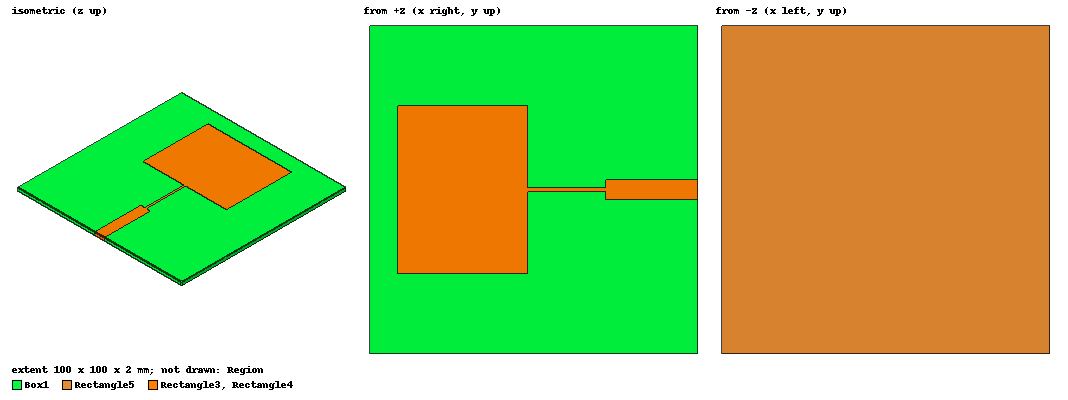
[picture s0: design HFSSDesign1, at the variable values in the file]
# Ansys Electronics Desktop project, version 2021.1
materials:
  vacuum: permittivity=1
  Rogers RT/duroid 5880 (tm): permittivity=2.2 dielectric_loss_tangent=0.0009

design HFSSDesign1 (HFSS, DrivenModal, model units mm)
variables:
  x0 = 100mm
  y0 = 100mm
  h0 = 2mm
  W = 51.013318mm  # optimise 24.7mm..74.1mm
  L = 39.710119mm  # optimise 20.55mm..61.65mm
  W_tr = 1.0934448mm
  L_tr = 23.777967mm
  W_in = 6mm
  L_in = 28mm
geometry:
  Box1 [Rogers RT/duroid 5880 (tm)] = box(corner=(-x0, -y0/2, 0mm), size=(x0, y0, -h0))
  Rectangle1 = rectangle(corner=(0mm, -W_in/2, 0mm), x_size=-L_in, y_size=W_in)
  Rectangle2 = rectangle(corner=(-L_in, -W_tr/2, 0mm), x_size=-L_tr, y_size=W_tr)
  Rectangle3 = rectangle(corner=(-L_in-L_tr, -W/2, 0mm), x_size=-L, y_size=W)
  Rectangle3.unite(Rectangle2, Rectangle1)
  Rectangle4 = rectangle(corner=(0mm, -W_in/2, 0mm), y_size=W_in, z_size=-h0)
  Rectangle5 = rectangle(corner=(-x0, -y0/2, -h0), x_size=x0, y_size=y0)
  Region [vacuum] = region(absolute_offset=40mm on all sides)
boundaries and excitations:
  PerfE1: Perfect E Objects=Rectangle5
  PerfE2: Perfect E Objects=Rectangle3
  Rad1: Radiation Objects=Region
  1: Lumped Port Objects=Rectangle4 Modes{Mode1{IntLine{middle of Rectangle4.edge(z opposite corner) -> middle of Rectangle4.edge(z at corner)} CharImp=Zpi RenormImp=50ohm}} Impedance=50ohm
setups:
  Setup1: HfssDriven Frequency=2.4GHz MaxDeltaS=0.02 MaximumPasses=20 MinimumPasses=1 MinimumConvergedPasses=2 PercentRefinement=30 BasisOrder=1 PortAccuracy=2
    sweep Sweep: 1.8GHz to 3GHz step 0.01GHz; Type=Interpolating SaveFields SaveRadFields InterpTolerance=0.5 InterpMaxSolns=250 InterpUsePortImped=false PassivityErrorTolerance=0.0001
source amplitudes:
  1:1: 1W 0deg
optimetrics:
  OptimizationSetup1: Optimization Optimizer="Quasi Newton" AnalysisStopOptions{StopForNumIteration MaxNumIteration=1000 MinNumIteration=10} CostFuncNormType=L2 Acceptable_Cost=0 Noise=0.0001 UpdateDesignWhenDone
    goal dB(S(1,1)) <= -25 weight 1 on Setup1 : Sweep at Freq 2.39GHz to 2.41GHz
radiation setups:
  Infinite Sphere1: Infinite Sphere Theta=-180deg..180deg step 1deg Phi=-180deg..180deg step 1deg
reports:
  S Parameter Plot 1: dB(S(1,1)) vs Freq on Setup1 : Sweep; markers m1 at 2.4GHz
  Gain Plot 1: dB(GainTotal) vs Freq on Setup1 : Sweep, Infinite Sphere1 [Phi=90deg Theta=90deg]; markers m1 at 2.4GHz
  Directivity Plot 1: dB(DirTotal) vs Freq on Setup1 : Sweep, Infinite Sphere1 [Phi=90deg Theta=90deg]; markers m1 at 2.4GHz
  Antenna Params Plot 1: dB(PeakDirectivity), dB(PeakGain), dB(PeakRealizedGain) vs Freq on Setup1 : Sweep; markers m1 at 2.4GHz
  Gain Plot 2: dB(GainTotal) vs Theta on Setup1 : Sweep, Infinite Sphere1 [Phi=0deg,90deg Freq=2.4GHz]
  Gain Plot 3: dB(GainPhi), dB(GainTheta) vs Theta on Setup1 : Sweep, Infinite Sphere1 [Phi=0deg,90deg Freq=2.4GHz]
  Antenna Params Plot 2: RadiationEfficiency vs Freq on Setup1 : Sweep; markers m1 at 2.4GHz
